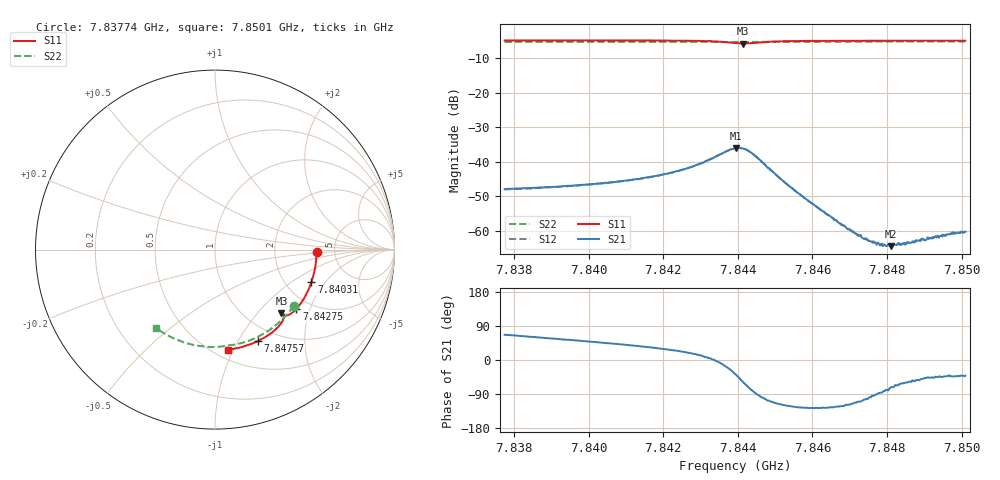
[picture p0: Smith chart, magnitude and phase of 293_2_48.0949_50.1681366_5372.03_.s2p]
#  HZ  S  RI  R  50.00
! Rohde & Schwarz Vector Network Analyzer
! Rohde-Schwarz,ZNB20-2Port,1311601062101988,3.16
! Created: UTC 12/23/2023, 4:03:59 AM
! freq[Hz]  re:S11  im:S11  re:S21  im:S21  re:S12  im:S12  re:S22  im:S22
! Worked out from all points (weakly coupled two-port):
!   401 points, 7.83774 GHz to 7.8501 GHz, reference 50 ohm
!   highest |S21| = -35.98 dB at 7.84395 GHz (marker M1); lowest = -64.4 dB at 7.84809 GHz (marker M2)
!   lowest |S11| = -5.8 dB at 7.84414 GHz (marker M3), VSWR 3.10, Z = 70.8 - j67.8 ohm
!   |S11| at or under -10 dB: nowhere
!   |S22| runs from -5.4 to -5.3 dB; largest |S21 - S12| = 0.00039
!   S11 on the Smith chart (normalised r, x): 7.83774 GHz: 3.61, -0.14; 7.84031 GHz: 2.74, -1.47; 7.84275 GHz: 1.68, -1.62; 7.84757 GHz: 0.81, -1.21; 7.8501 GHz: 0.59, -0.96
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7.837742e9  0.5663 -0.0134  0.00159 0.00369  0.00161 0.00365  0.4395 -0.3135
7.839812e9  0.5468 -0.1499  0.00296 0.00358  0.00292 0.00355  0.3409 -0.4195
7.840306e9  0.537 -0.1817  0.00338 0.00352  0.00335 0.00346  0.3135 -0.4408
7.841172e9  0.5148 -0.2365  0.00431 0.00341  0.0043 0.00341  0.2622 -0.4734
7.841882e9  0.4912 -0.28  0.00547 0.00323  0.00541 0.00325  0.2176 -0.4956
7.842748e9  0.4532 -0.331  0.00802 0.00254  0.00799 0.00256  0.1606 -0.517
7.843489e9  0.4043 -0.3657  0.0124 -0.00127  0.0124 -0.00122  0.1098 -0.5292
7.843922e9  0.3724 -0.3621  0.0126 -0.00934  0.0127 -0.00914  0.0808 -0.5328
7.843953e9  0.3713 -0.3606  0.0123 -0.0101  0.0123 -0.00999  0.0789 -0.5331
7.844138e9  0.3704 -0.3531  0.00821 -0.0132  0.00822 -0.0131  0.0672 -0.5345
7.844447e9  0.3814 -0.3583  0.000885 -0.0123  0.000983 -0.0123  0.0475 -0.5381
7.845312e9  0.364 -0.4172  -0.00241 -0.00407  -0.00244 -0.00414  -0.0131 -0.5426
7.845992e9  0.329 -0.4524  -0.00147 -0.002  -0.0015 -0.002  -0.0611 -0.5401
7.846981e9  0.2725 -0.4918  -0.000496 -0.000932  -0.000504 -0.000952  -0.1297 -0.5287
7.847383e9  0.2484 -0.5048  -0.000193 -0.000742  -0.000187 -0.000759  -0.1569 -0.5215
7.847568e9  0.2371 -0.5103  -0.000103 -0.000696  -0.000117 -0.000721  -0.1694 -0.5177
7.847846e9  0.2199 -0.5181  4.29e-05 -0.000635  6.92e-05 -0.000638  -0.1879 -0.5113
7.848063e9  0.2065 -0.5235  0.000155 -0.000594  0.000129 -0.000599  -0.2022 -0.5061
7.848093e9  0.2046 -0.5243  0.00018 -0.000575  0.000158 -0.000631  -0.2042 -0.5053
7.848464e9  0.1811 -0.5331  0.000309 -0.000558  0.000344 -0.000578  -0.2282 -0.4953
7.849762e9  0.0972 -0.5542  0.000658 -0.000621  0.000708 -0.000647  -0.3074 -0.451
7.850102e9  0.0749 -0.5574  0.000731 -0.000645  0.000729 -0.000635  -0.327 -0.4375
